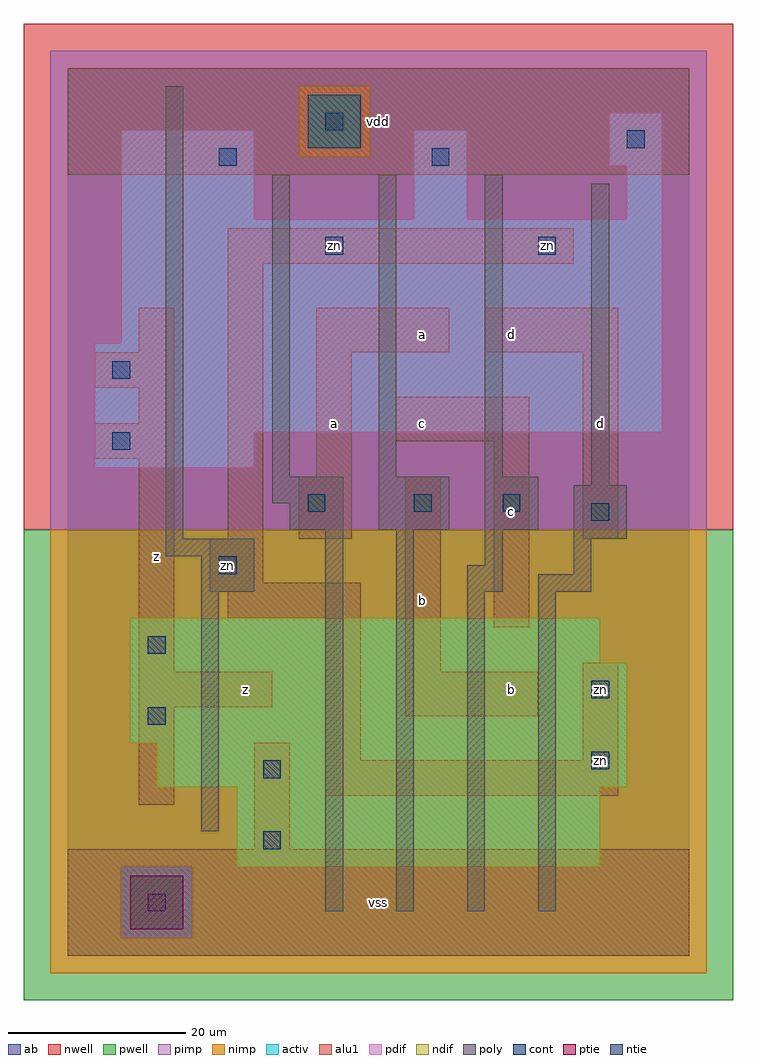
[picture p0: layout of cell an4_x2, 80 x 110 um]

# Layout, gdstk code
import gdstk
lib = gdstk.Library(unit=1e-6, precision=1e-09)
def R(c, l, rs):  # rectangles x0, y0, x1, y1
    for r in rs: c.add(gdstk.rectangle(r[:2], r[2:], *l))
def A(c, l, x, y, w, h, nx, ny, dx, dy):  # array of equal rectangles
    R(c, l, [(x+i*dx, y+j*dy, x+i*dx+w, y+j*dy+h) for i in range(nx) for j in range(ny)])
ndif = (3, 0)
pdif = (4, 0)
ntie = (5, 0)
ptie = (6, 0)
cont = (25, 0)
pwell = (41, 0)
nwell = (42, 0)
activ = (43, 0)
pimp = (44, 0)
nimp = (45, 0)
poly = (46, 0)
alu1 = (49, 0)
ab = (63, 0)

an4_x2 = lib.new_cell('an4_x2')
R(an4_x2, ndif, [(19,10,60,19), (10,19,63,24), (7,24,63,33), (7,33,60,38)])
R(an4_x2, pdif, [(3,55,21,59), (3,59,67,69), (6,69,67,83), (6,83,21,93), (39,83,45,93), (63,83,67,89), (61,89,67,95)])
R(an4_x2, ntie, [(27,91,33,97)])
R(an4_x2, ptie, [(7,3,13,9)])
R(an4_x2, cont, [(9,5,11,7), (22,12,24,14), (22,20,24,22), (59,21,61,23), (9,26,11,28), (59,29,61,31), (9,34,11,36), (17,43,19,45), (59,49,61,51), (27,50,29,52), (39,50,41,52), (49,50,51,52), (5,57,7,59), (5,65,7,67), (29,79,31,81), (53,79,55,81), (17,89,19,91), (41,89,43,91), (63,91,65,93), (29,93,31,95)])
R(an4_x2, pwell, [(-5,-5,75,48)])
R(an4_x2, nwell, [(-5,48,75,105)])
R(an4_x2, activ, [(7,3,13,9), (19,10,60,19), (10,19,63,24), (7,24,63,33), (7,33,60,38), (3,55,21,59), (3,59,67,69), (6,69,67,83), (6,83,21,93), (39,83,45,93), (63,83,67,89), (61,89,67,95), (27,91,33,97)])
R(an4_x2, pimp, [(6,2,14,10), (-2,48,72,90), (-2,90,26,98), (34,90,72,98), (-2,98,72,102)])
R(an4_x2, nimp, [(-2,-2,72,2), (-2,2,6,10), (14,2,72,10), (-2,10,72,48), (26,90,34,98)])
A(an4_x2, poly, 23, 54, 2, 34, 3, 1, 12, 0)
R(an4_x2, poly, [(29,5,31,48), (37,5,39,48), (45,5,47,41), (53,5,55,41), (15,14,17,41), (15,41,21,45), (45,41,49,44), (53,41,59,43), (57,43,59,47), (47,44,49,48), (11,45,21,47), (11,47,13,98), (57,47,63,53), (25,48,31,51), (35,48,43,54), (47,48,53,54), (23,51,31,54), (59,53,61,87)])
R(an4_x2, alu1, [(0,0,70,12), (21,12,25,24), (8,17,12,28), (29,18,62,22), (29,22,33,38), (58,22,62,33), (38,27,53,32), (8,28,23,32), (8,32,12,56), (38,32,42,54), (48,37,52,58), (18,38,33,41), (16,41,33,42), (16,42,22,47), (18,47,22,78), (26,47,32,54), (58,47,62,68), (28,54,32,68), (3,56,12,60), (37,58,52,63), (8,60,12,64), (3,64,12,68), (8,68,12,73), (28,68,43,73), (47,68,62,73), (18,78,57,82), (0,88,70,100)])
R(an4_x2, ab, [(0,0,70,100)])
an4_x2.add(gdstk.Label('zn', (18,44), layer=49, texttype=0))
an4_x2.add(gdstk.Label('zn', (30,80), layer=49, texttype=0))
an4_x2.add(gdstk.Label('zn', (60,22), layer=49, texttype=0))
an4_x2.add(gdstk.Label('zn', (60,30), layer=49, texttype=0))
an4_x2.add(gdstk.Label('zn', (54,80), layer=49, texttype=0))
an4_x2.add(gdstk.Label('z', (10,45), layer=49, texttype=0))
an4_x2.add(gdstk.Label('z', (20,30), layer=49, texttype=0))
an4_x2.add(gdstk.Label('a', (30,60), layer=49, texttype=0))
an4_x2.add(gdstk.Label('vss', (35,6), layer=49, texttype=0))
an4_x2.add(gdstk.Label('b', (40,40), layer=49, texttype=0))
an4_x2.add(gdstk.Label('b', (50,30), layer=49, texttype=0))
an4_x2.add(gdstk.Label('c', (50,50), layer=49, texttype=0))
an4_x2.add(gdstk.Label('d', (50,70), layer=49, texttype=0))
an4_x2.add(gdstk.Label('a', (40,70), layer=49, texttype=0))
an4_x2.add(gdstk.Label('c', (40,60), layer=49, texttype=0))
an4_x2.add(gdstk.Label('vdd', (35,94), layer=49, texttype=0))
an4_x2.add(gdstk.Label('d', (60,60), layer=49, texttype=0))

lib.write_gds('an4_x2.gds')
